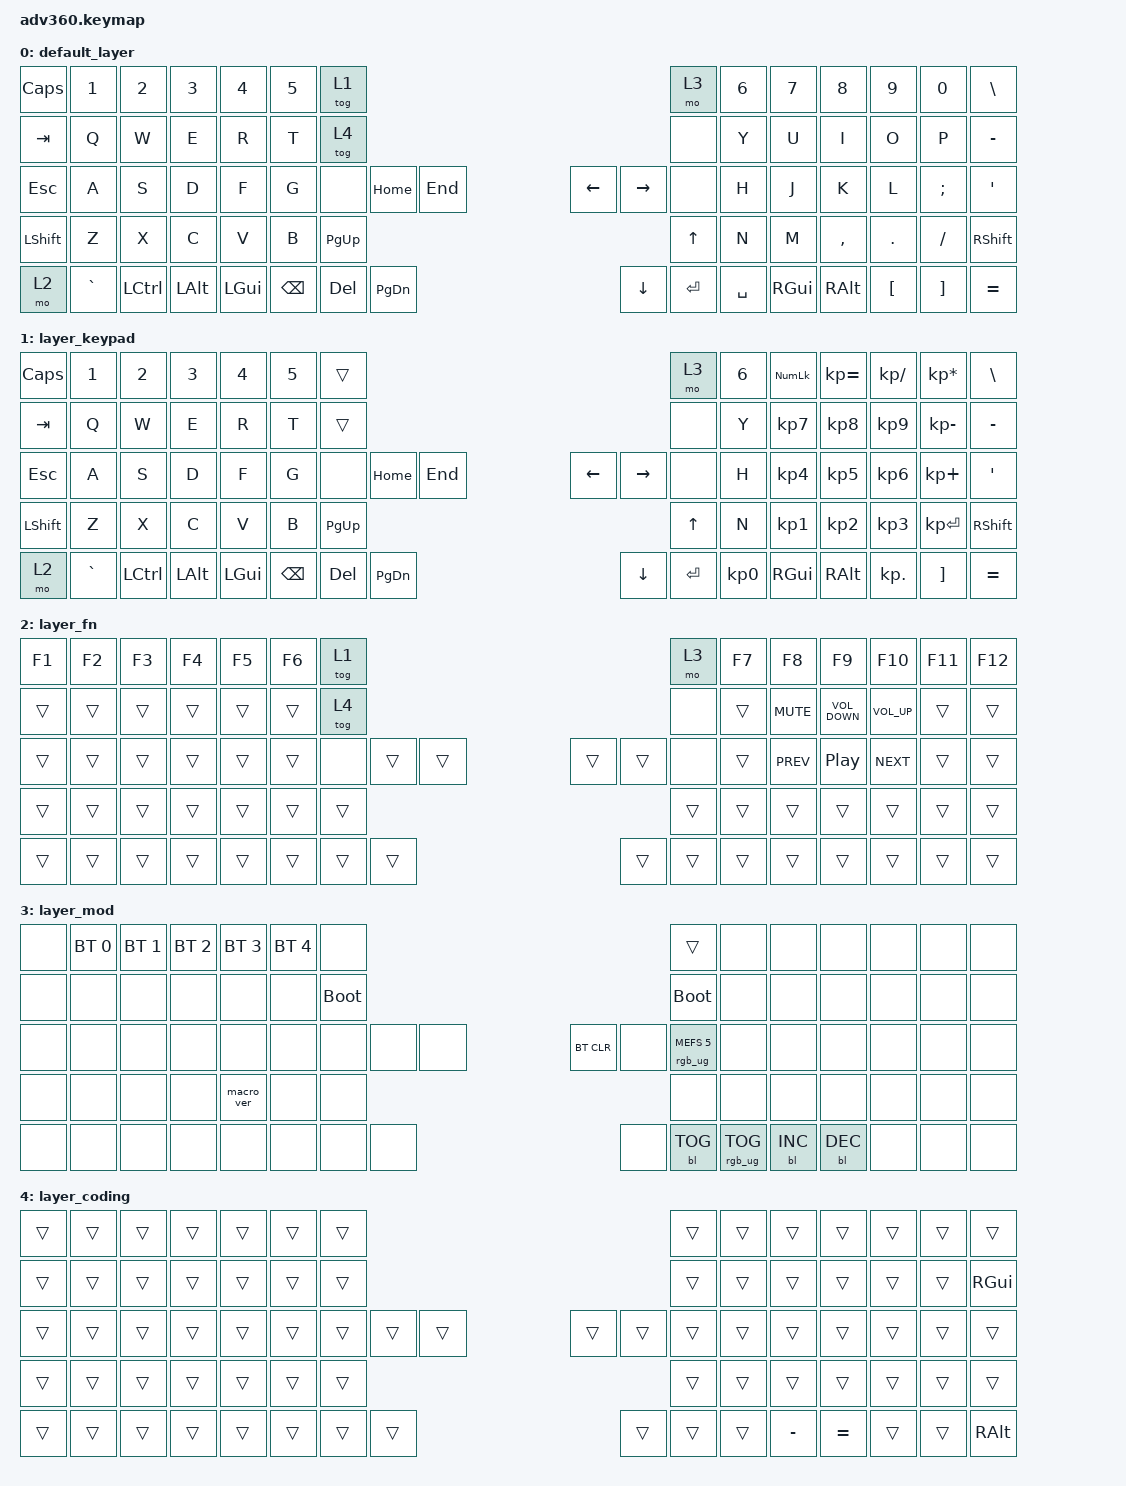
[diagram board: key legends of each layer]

/*
 * Copyright (c) 2020 The ZMK Contributors
 *
 * SPDX-License-Identifier: MIT
 */

#include "behaviors.dtsi"
#include <dt-bindings/zmk/keys.h>
#include <dt-bindings/zmk/bt.h>
#include <dt-bindings/zmk/rgb.h>
#include <dt-bindings/zmk/backlight.h>

/ {
  behaviors {
    #include "macros.dtsi"
    #include "version.dtsi"
    #include "morphmod.dtsi"

    hm: homerow_mods {
        compatible = "zmk,behavior-hold-tap";
        label = "HOMEROW_MODS";
        #binding-cells = <2>;
        tapping-term-ms = <200>;
        quick_tap_ms = <175>;
        flavor = "tap-preferred";
        bindings = <&kp>, <&kp>;
    };
  };

    keymap {
        compatible = "zmk,keymap";


        default_layer {
            bindings = <
  &kp CAPS     &kp N1     &kp N2    &kp N3    &kp N4  &kp N5              &tog 1                                                                &mo 3  &kp N6    &kp N7     &kp N8    &kp N9    &kp N0   &kp BSLH
   &kp TAB      &kp Q      &kp W     &kp E     &kp R   &kp T              &tog 4                                                                &none   &kp Y     &kp U      &kp I     &kp O     &kp P  &kp MINUS
   &kp ESC      &kp A      &kp S     &kp D     &kp F   &kp G               &none  &kp HOME    &kp END                  &kp LEFT  &kp RIGHT      &none   &kp H     &kp J      &kp K     &kp L  &kp SEMI    &kp SQT
 &kp LSHFT      &kp Z      &kp X     &kp C     &kp V   &kp B                                &kp PG_UP                    &kp UP                         &kp N     &kp M  &kp COMMA   &kp DOT  &kp FSLH  &kp RSHFT
     &mo 2  &kp GRAVE  &kp LCTRL  &kp LALT  &kp LGUI                    &kp BSPC   &kp DEL  &kp PG_DN                  &kp DOWN  &kp ENTER  &kp SPACE          &kp RGUI   &kp RALT  &kp LBKT  &kp RBKT  &kp EQUAL
            >;
        };

        layer_keypad {
            bindings = <
  &kp CAPS     &kp N1     &kp N2    &kp N3    &kp N4  &kp N5              &trans                                                                &mo 3  &kp N6  &kp KP_NUM  &kp KP_EQUAL  &kp KP_DIVIDE  &kp KP_MULTIPLY   &kp BSLH
   &kp TAB      &kp Q      &kp W     &kp E     &kp R   &kp T              &trans                                                                &none   &kp Y   &kp KP_N7     &kp KP_N8      &kp KP_N9     &kp KP_MINUS  &kp MINUS
   &kp ESC      &kp A      &kp S     &kp D     &kp F   &kp G               &none  &kp HOME    &kp END                  &kp LEFT  &kp RIGHT      &none   &kp H   &kp KP_N4     &kp KP_N5      &kp KP_N6      &kp KP_PLUS    &kp SQT
 &kp LSHFT      &kp Z      &kp X     &kp C     &kp V   &kp B                                &kp PG_UP                    &kp UP                         &kp N   &kp KP_N1     &kp KP_N2      &kp KP_N3     &kp KP_ENTER  &kp RSHFT
     &mo 2  &kp GRAVE  &kp LCTRL  &kp LALT  &kp LGUI                    &kp BSPC   &kp DEL  &kp PG_DN                  &kp DOWN  &kp ENTER  &kp KP_N0            &kp RGUI      &kp RALT     &kp KP_DOT         &kp RBKT  &kp EQUAL
            >;
        };

        layer_fn {
            bindings = <
 &kp F1  &kp F2  &kp F3  &kp F4  &kp F5  &kp F6            &tog 1                                                   &mo 3  &kp F7      &kp F8             &kp F9       &kp F10  &kp F11  &kp F12
 &trans  &trans  &trans  &trans  &trans  &trans            &tog 4                                                   &none  &trans  &kp C_MUTE  &kp C_VOLUME_DOWN  &kp C_VOL_UP   &trans   &trans
 &trans  &trans  &trans  &trans  &trans  &trans             &none  &trans  &trans                  &trans  &trans   &none  &trans  &kp C_PREV           &kp C_PP    &kp C_NEXT   &trans   &trans
 &trans  &trans  &trans  &trans  &trans  &trans                            &trans                  &trans                  &trans      &trans             &trans        &trans   &trans   &trans
 &trans  &trans  &trans  &trans  &trans                    &trans  &trans  &trans                  &trans  &trans  &trans              &trans             &trans        &trans   &trans   &trans
            >;
        };

        layer_mod {
            bindings = <
  &none  &bt BT_SEL 0  &bt BT_SEL 1  &bt BT_SEL 2  &bt BT_SEL 3  &bt BT_SEL 4                  &none                                                                          &trans   &none       &none       &none   &none   &none   &none
  &none         &none         &none         &none         &none         &none            &bootloader                                                                     &bootloader   &none       &none       &none   &none   &none   &none
  &none         &none         &none         &none         &none         &none                  &none   &none   &none                  &bt BT_CLR       &none  &rgb_ug RGB_MEFS_CMD 5   &none       &none       &none   &none   &none   &none
  &none         &none         &none         &none    &macro_ver         &none                                  &none                       &none                                       &none       &none       &none   &none   &none   &none
  &none         &none         &none         &none         &none                                &none   &none   &none                       &none  &bl BL_TOG         &rgb_ug RGB_TOG          &bl BL_INC  &bl BL_DEC   &none   &none   &none
            >;
        };

        layer_coding {
            bindings = <
 &trans  &trans  &trans  &trans  &trans  &trans            &trans                                                  &trans  &trans     &trans     &trans  &trans  &trans    &trans
 &trans  &trans  &trans  &trans  &trans  &trans            &trans                                                  &trans  &trans     &trans     &trans  &trans  &trans  &kp RGUI
 &trans  &trans  &trans  &trans  &trans  &trans            &trans  &trans  &trans                  &trans  &trans  &trans  &trans     &trans     &trans  &trans  &trans    &trans
 &trans  &trans  &trans  &trans  &trans  &trans                            &trans                  &trans                  &trans     &trans     &trans  &trans  &trans    &trans
 &trans  &trans  &trans  &trans  &trans                    &trans  &trans  &trans                  &trans  &trans  &trans          &kp MINUS  &kp EQUAL  &trans  &trans  &kp RALT
            >;
        };

    };
};
